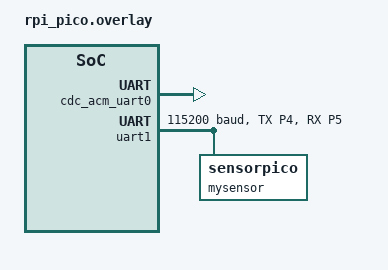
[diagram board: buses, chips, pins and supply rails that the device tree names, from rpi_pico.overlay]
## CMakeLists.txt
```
cmake_minimum_required(VERSION 3.20.0)

# Select our board
set(BOARD rpi_pico)


# Find/Select cmake package 'Zephyr'
find_package(Zephyr)

# This is only used by IntelliSense inside VS Code
set(CMAKE_EXPORT_COMPILE_COMMANDS ON)

# For using west flash with picoprobe
set(OPENOCD "openocd")
set(DRPI_PICO_DEBUG_ADAPTER "picoprobe")
set(OPENOCD_DEFAULT_PATH "/usr/local/share/openocd/scripts")

# Define project name
project(basestation)

# Add include directory
target_include_directories(app PRIVATE src/inc)

# Add source files
FILE(GLOB SRC_FILES "src/*.c")
target_sources(app PRIVATE ${SRC_FILES})
```

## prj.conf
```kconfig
CONFIG_GPIO=y
CONFIG_I2C=y

CONFIG_DEBUG=y
CONFIG_FPU=n
CONFIG_SENSOR=y
CONFIG_PMS7003=y

CONFIG_NEWLIB_LIBC=y
CONFIG_NEWLIB_LIBC_FLOAT_PRINTF=y

CONFIG_USB_DEVICE_STACK=y
CONFIG_USB_DEVICE_PRODUCT="RPi Pico USB Serial Console"
CONFIG_USB_DEVICE_VID=0001

CONFIG_SERIAL=y
CONFIG_CONSOLE=y
CONFIG_UART_CONSOLE=y
CONFIG_UART_LINE_CTRL=y
CONFIG_UART_ASYNC_API=y

CONFIG_UART_INTERRUPT_DRIVEN=y
CONFIG_UART_1_ASYNC=y
CONFIG_UART_1_INTERRUPT_DRIVEN=y
```

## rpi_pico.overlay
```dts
/ {
    chosen {
        zephyr,console = &cdc_acm_uart0;
    };
};

&zephyr_udc0 {
    cdc_acm_uart0: cdc_acm_uart0 {
    	compatible = "zephyr,cdc-acm-uart";
        label = "CDC_ACM_0";
    };
};

&pinctrl {
	uart1_default: uart1_default {
		group1 {
			pinmux = <UART1_TX_P4>;
		};
		group2 {
			pinmux = <UART1_RX_P5>;
			input-enable;
		};
	};
};
&uart1 {
    status ="okay";
    current-speed = <115200>;
    pinctrl-0=<&uart1_default>;
    pinctrl-names="default";
	mysensor: sensorpico{
		status="okay";
		compatible = "zephyr,sensorpico";
	};
};
&i2c0{
	status="disabled";
};
```

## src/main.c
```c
#include <stdio.h>
#include <zephyr/device.h>
#include <zephyr/devicetree.h>
#include <zephyr/drivers/gpio.h>
#include <zephyr/drivers/sensor.h>
#include <zephyr/kernel.h>
#include <zephyr/usb/usb_device.h>
#include <zephyr/drivers/uart.h>
#include <zephyr/sys/printk.h>
#include <zephyr/sys/util.h>

#define STACK_SIZE 500

#define SLEEP_TIME 1000

BUILD_ASSERT(DT_NODE_HAS_COMPAT(DT_CHOSEN(zephyr_console), zephyr_cdc_acm_uart), "Console device is not ACM CDC UART device");

void main_task()
{
    /* Configure to set Console output to USB Serial */
    const struct device *usb_device = DEVICE_DT_GET(DT_CHOSEN(zephyr_console));
    uint32_t dtr = 0;

    /* Check if USB can be initialised, bails out if fail is returned */
    if (usb_enable(NULL) != 0)
    {
        return;
    }

    /* Wait for a console connection, if the DTR flag was set to activate USB.
     * If you wish to start generating serial data immediately, you can simply
     * remove the while loop, to not wait until the control line is set.
     */
    while (!dtr)
    {
        uart_line_ctrl_get(usb_device, UART_LINE_CTRL_DTR, &dtr);
        k_sleep(K_MSEC(100));
    }
    const struct device *dev = DEVICE_DT_GET(DT_NODELABEL(mysensor));
    struct sensor_value temperature, press, light, uv, adc, conf;

    printk("*******************************************\n");
    while (!device_is_ready(dev))
    {
        printk("Sensor: device not ready.\n");
        k_msleep(SLEEP_TIME);
    }

    printk("Starting base station...\n");
    printk("Configuring sensor node(s)...\n");
    printk("Setting sampling frequency...\n");
    // sensor_attr_set(dev, SENSOR_CHAN_ALL, SENSOR_ATTR_SAMPLING_FREQUENCY, &sampling_frequency);

    printk("*******************************************\n\n");
    k_msleep(3000);
    int i = 0;
    for (;;)
    {
        printk("Itr: %d\n", i);
        // Update the sampling rate every 25 interations
        if ((i % 25) == 0 && (i > 24))
            if (sensor_attr_set(dev, SENSOR_CHAN_VOLTAGE, SENSOR_ATTR_SAMPLING_FREQUENCY, &conf) < 0)
                printk("Error in setting sample rate");

        if (sensor_sample_fetch(dev) < 0)
        {
            printk("ERROR: Could not fetch samples from sensor node.\n");
        }

        if (sensor_channel_get(dev, SENSOR_CHAN_AMBIENT_TEMP, &temperature) < 0)
        {
            printk("ERROR: Could not fetch 'TEMP' from sensor node.\n");
        }

        if (sensor_channel_get(dev, SENSOR_CHAN_PRESS, &press) < 0)
        {
            printk("ERROR: Could not fetch 'press' from sensor node.\n");
        }

        if (sensor_channel_get(dev, SENSOR_CHAN_LIGHT, &light) < 0)
        {
            printk("ERROR: Could not fetch 'light' from sensor node.\n");
        }

        if (sensor_channel_get(dev, SENSOR_CHAN_IR, &uv) < 0)
        {
            printk("ERROR: Could not fetch 'UV' from sensor node.\n");
        }

        if (sensor_channel_get(dev, SENSOR_CHAN_VOLTAGE, &adc) < 0)
        {
            printk("ERROR: Could not fetch 'adc' from sensor node.\n");
        }

        printk("============ SENSOR READINGS ==============\n");
        printk("Light lux: %d.%02d\n", light.val1, light.val2);
        printk("Pressure (hPa): %d.%02d\n", press.val1, press.val2);
        printk("Temperature (C): %d.%02d\n", temperature.val1, temperature.val2);
        printk("UV : %d\n", uv.val1);
        printk("Moisture level mV: %d\n", adc.val1);
        printk("===========================================\n\n");
        i++;
        k_msleep(SLEEP_TIME);
    }
}

K_THREAD_DEFINE(main_thread, STACK_SIZE, main_task, NULL, NULL, NULL, 1, 0, 0);
```
